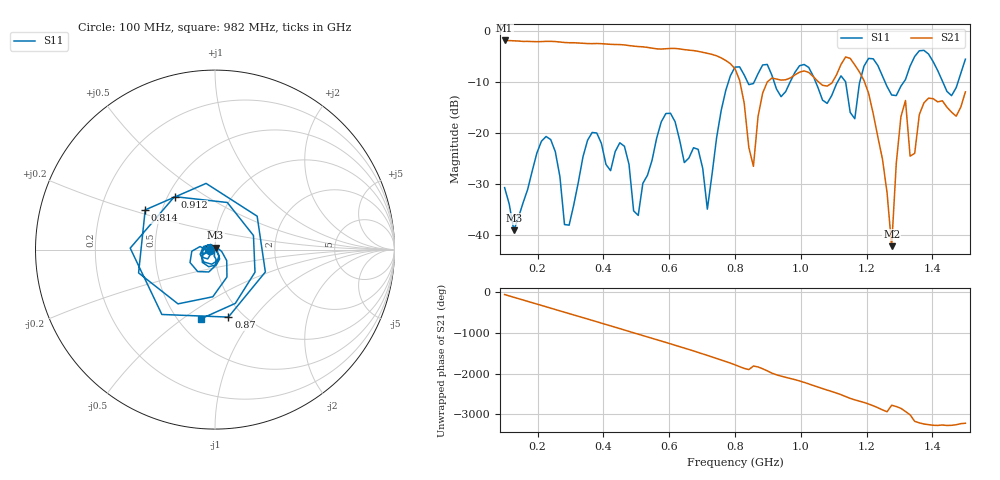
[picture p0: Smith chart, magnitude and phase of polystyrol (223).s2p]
! NanoVNA-App
! Date: 2025-09-25 15:31:37
! Start: 100MHz Stop: 1,5GHz Points: 101
! S-Parameter data: F S11 S21 S12 S22
# Hz S RI R 50
!  Frequency  S11_Real  S11_Imag  S21_Real  S21_Imag  S12_Real  S12_Imag  S22_Real  S22_Imag
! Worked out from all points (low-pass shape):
!   101 points, 100 MHz to 1.5 GHz, reference 50 ohm
!   highest |S21| = -1.80 dB at 100 MHz (marker M1); lowest = -42.2 dB at 1.276 GHz (marker M2)
!   |S21| within 3 dB of the highest: start of sweep to 743.3 MHz
!   lowest |S11| = -39.1 dB at 128 MHz (marker M3), VSWR 1.02, Z = 50.3 + j1.07 ohm
!   |S11| at or under -10 dB: start of sweep to 779.8 MHz; 1.045 GHz to 1.111 GHz (65.83 MHz wide, 6.11 % of centre); 1.256 GHz to 1.312 GHz (56.15 MHz wide, 4.37 % of centre) (the widest 3 of 7)
!   S12 and S22 are empty: the file has one direction only
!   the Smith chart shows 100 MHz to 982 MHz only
!   S11 on the Smith chart (normalised r, x): 100 MHz: 0.94, -0.01; 814 MHz: 0.40, +0.22; 870 MHz: 0.85, -0.75; 912 MHz: 0.54, +0.37; 982 MHz: 0.64, -0.59
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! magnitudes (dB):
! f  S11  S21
! 100 MHz  -30.7  -1.8
! 128 MHz  -39.1  -1.9
! 212 MHz  -21.6  -2.0
! 282 MHz  -37.9  -2.2
! 338 MHz  -24.7  -2.4
! 464 MHz  -22.6  -2.7
! 506 MHz  -36.1  -3.0
! 576 MHz  -17.8  -3.5
! 716 MHz  -34.9  -4.3
! 800 MHz  -7.0  -7.4
! 814 MHz  -7.0  -9.6
! 856 MHz  -10.3  -26.5
! 870 MHz  -8.3  -16.7
! 912 MHz  -8.6  -9.2
! 982 MHz  -8.1  -8.6
! 1.038 GHz  -8.8  -8.9
! 1.164 GHz  -17.2  -6.6
! 1.192 GHz  -6.8  -9.7
! 1.276 GHz  -12.5  -42.2
! 1.318 GHz  -9.5  -13.6
! 1.332 GHz  -6.8  -24.5
! 1.5 GHz  -5.5  -11.9
